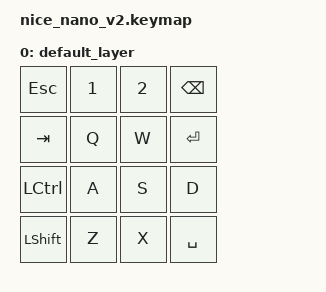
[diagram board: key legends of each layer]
#include <behaviors.dtsi>
#include <dt-bindings/zmk/keys.h>

/ {
    keymap {
        compatible = "zmk,keymap";

        default_layer {
            bindings = <
                &kp ESC   &kp N1   &kp N2   &kp BSPC
                &kp TAB   &kp Q    &kp W    &kp ENTER
                &kp LCTRL &kp A    &kp S    &kp D
                &kp LSHFT &kp Z    &kp X    &kp SPACE
            >;
        };
    };
};
